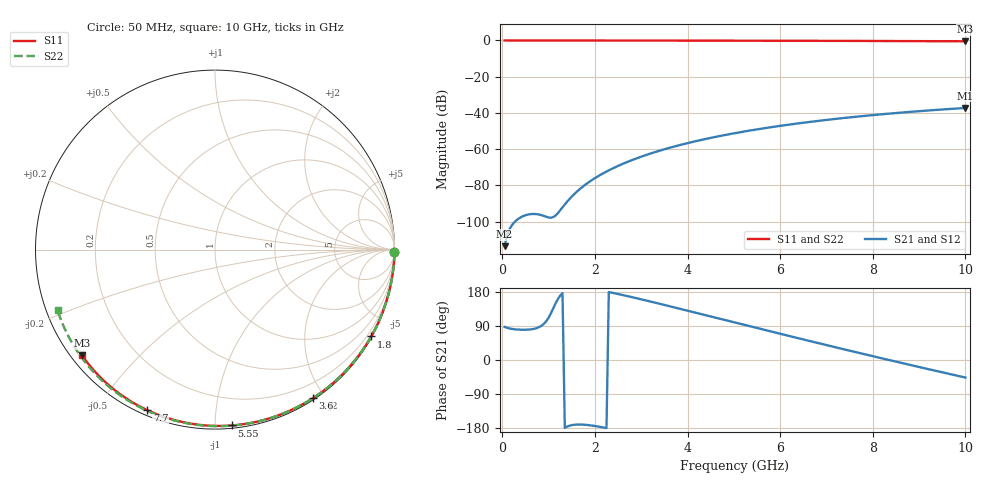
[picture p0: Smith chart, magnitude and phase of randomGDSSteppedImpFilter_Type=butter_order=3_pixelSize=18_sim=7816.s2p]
! freq	dB(S11)	phase(S11)	dB(S12)	phase(S12)
!  dB(S21)	phase(S21)	dB(S22)	phase(S22)
!S-par simulation data
#  GHz  S  DB  R 50
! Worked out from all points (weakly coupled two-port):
!   200 points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, 50 MHz to 10 GHz, reference 50 ohm
!   highest |S21| = -37.25 dB at 10 GHz (marker M1); lowest = -113.5 dB at 50 MHz (marker M2)
!   lowest |S11| = -0.5 dB at 10 GHz (marker M3), VSWR 36.61, Z = 1.53 - j17.4 ohm
!   |S11| at or under -10 dB: nowhere
!   |S22| runs from -0.5 to 0.0 dB; largest |S21 - S12| = 0
!   S11 on the Smith chart (normalised r, x): 50 MHz: open; 1.8 GHz: 0.03, -3.86; 3.6 GHz: 0.02, -1.85; 5.55 GHz: 0.02, -1.10; 7.7 GHz: 0.02, -0.66; 10 GHz: 0.03, -0.35
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0.05  -0.00 -0.8  -113.52 87.4  -113.52 87.4  -0.00 -0.9
0.45  -0.01 -7.4  -96.95 79.8  -96.95 79.8  -0.01 -8.2
0.9  -0.02 -14.7  -96.86 95.7  -96.86 95.7  -0.02 -16.3
1.3  -0.03 -21.1  -92.11 176.3  -92.11 176.3  -0.03 -23.4
1.75  -0.04 -28.3  -80.42 -170.6  -80.42 -170.6  -0.04 -31.3
1.8  -0.04 -29.1  -79.45 -171.1  -79.45 -171.1  -0.04 -32.2
1.95  -0.04 -31.4  -76.79 -173.2  -76.79 -173.2  -0.04 -34.8
2.1  -0.04 -33.8  -74.44 -176.1  -74.44 -176.1  -0.05 -37.4
2.3  -0.05 -36.9  -71.67 179.3  -71.67 179.3  -0.05 -40.8
2.5  -0.05 -40.0  -69.23 174.1  -69.23 174.1  -0.06 -44.3
2.9  -0.06 -46.2  -65.06 163.0  -65.06 163.0  -0.07 -51.1
3.4  -0.07 -53.7  -60.80 148.3  -60.80 148.3  -0.08 -59.4
3.6  -0.08 -56.7  -59.32 142.3  -59.32 142.3  -0.08 -62.7
4.3  -0.09 -67.0  -54.87 121.0  -54.87 121.0  -0.11 -74.0
5.05  -0.12 -77.6  -51.03 98.1  -51.03 98.1  -0.13 -85.8
5.55  -0.14 -84.5  -48.87 82.8  -48.87 82.8  -0.15 -93.4
6.1  -0.16 -92.0  -46.77 66.2  -46.77 66.2  -0.18 -101.7
6.7  -0.19 -99.9  -44.76 48.2  -44.76 48.2  -0.22 -110.6
7.7  -0.26 -112.8  -41.93 18.8  -41.93 18.8  -0.29 -125.1
8.35  -0.31 -121.0  -40.38 -0.0  -40.38 -0.0  -0.35 -134.6
9.2  -0.39 -131.6  -38.64 -24.1  -38.64 -24.1  -0.44 -147.0
10  -0.47 -141.6  -37.25 -46.3  -37.25 -46.3  -0.54 -158.9
